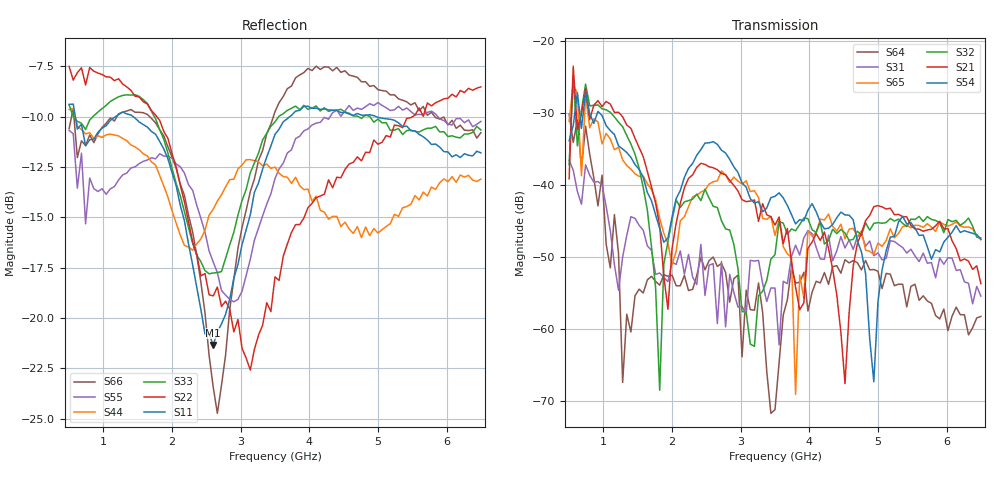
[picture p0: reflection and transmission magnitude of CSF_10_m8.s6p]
!Keysight Technologies,M9804A,MY58100912,A.14.10.03
!Date: Thursday, April 27, 2023 10:28:33
!Correction: S11(C  6-Port  )
!S12(C  6-Port  )
!S13(C  6-Port  )
!S14(C  6-Port  )
!S15(C  6-Port  )
!S16(C  6-Port  )
!S21(C  6-Port  )
!S22(C  6-Port  )
!S23(C  6-Port  )
!S24(C  6-Port  )
!S25(C  6-Port  )
!S26(C  6-Port  )
!S31(C  6-Port  )
!S32(C  6-Port  )
!S33(C  6-Port  )
!S34(C  6-Port  )
!S35(C  6-Port  )
!S36(C  6-Port  )
!S41(C  6-Port  )
!S42(C  6-Port  )
!S43(C  6-Port  )
!S44(C  6-Port  )
!S45(C  6-Port  )
!S46(C  6-Port  )
!S51(C  6-Port  )
!S52(C  6-Port  )
!S53(C  6-Port  )
!S54(C  6-Port  )
!S55(C  6-Port  )
!S56(C  6-Port  )
!S61(C  6-Port  )
!S62(C  6-Port  )
!S63(C  6-Port  )
!S64(C  6-Port  )
!S65(C  6-Port  )
!S66(C  6-Port  )
!S6P File: Measurement: :
# Hz S  RI  R 50
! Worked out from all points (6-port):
!   101 points, 500 MHz to 6.5 GHz, reference 50 ohm
!   strongest paths, dB at 500 MHz, 2 GHz, 3.5 GHz, 5 GHz, 6.5 GHz:
!     S54: -33.9, -44.5, -41.6, -56.2, -47.5
!     S21: -39.2, -48.8, -45.6, -42.9, -53.7
!     S32: -37.2, -44.9, -49.7, -45.2, -47.4
!     S65: -31.2, -51.0, -47.0, -48.1, -47.6
!     S31: -36.6, -50.7, -54.3, -49.4, -55.4
!     S64: -30.2, -52.5, -71.2, -52.0, -58.2
!   lowest |S11| = -21.3 dB at 2.6 GHz (marker M1), VSWR 1.19, Z = 42.4 + j2.21 ohm
!   |S11| at or under -10 dB: 590.3 MHz to 1.174 GHz (584.1 MHz wide, 66.2 % of centre); 1.435 GHz to 3.715 GHz (2.281 GHz wide, 88.6 % of centre); 4.975 GHz to end of sweep
